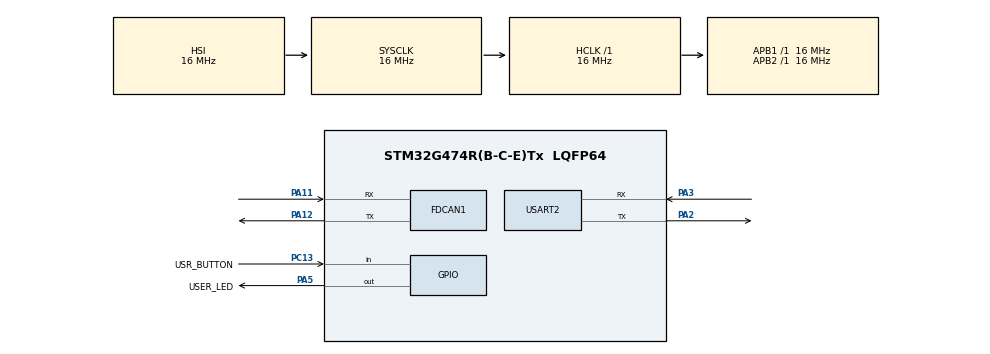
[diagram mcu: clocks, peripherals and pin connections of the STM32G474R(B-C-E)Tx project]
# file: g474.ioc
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FDCAN1.CalculateBaudRateNominal=400000
FDCAN1.CalculateTimeBitNominal=2500
FDCAN1.CalculateTimeQuantumNominal=250.0
FDCAN1.Mode=FDCAN_MODE_NORMAL
FDCAN1.NominalPrescaler=4
FDCAN1.NominalTimeSeg1=7
FDCAN1.NominalTimeSeg2=2
Mcu.Family=STM32G4
Mcu.Name=STM32G474R(B-C-E)Tx
Mcu.Package=LQFP64
NVIC.FDCAN1_IT0_IRQn=true\:0\:0\:false\:false\:true\:true\:true\:true
NVIC.PriorityGroup=NVIC_PRIORITYGROUP_4
PA11.Mode=FDCAN_Activate
PA11.Signal=FDCAN1_RX
PA12.Mode=FDCAN_Activate
PA12.Signal=FDCAN1_TX
PA2.Mode=Asynchronous
PA2.Signal=USART2_TX
PA3.Mode=Asynchronous
PA3.Signal=USART2_RX
PA5.GPIO_Label=USER_LED
PA5.Signal=GPIO_Output
PC13.GPIO_Label=USR_BUTTON
PC13.Signal=GPIO_Input
ProjectManager.HeapSize=0x200
ProjectManager.StackSize=0x400
ProjectManager.TargetToolchain=CMake
RCC.AHBFreq_Value=16000000
RCC.APB1Freq_Value=16000000
RCC.APB1TimFreq_Value=16000000
RCC.APB2Freq_Value=16000000
RCC.APB2TimFreq_Value=16000000
RCC.CortexFreq_Value=16000000
RCC.EXTERNAL_CLOCK_VALUE=12288000
RCC.HCLKFreq_Value=16000000
RCC.HSE_VALUE=8000000
RCC.HSI48_VALUE=48000000
RCC.HSI_VALUE=16000000
RCC.LSE_VALUE=32768
RCC.SYSCLKFreq_VALUE=16000000
RCC.USBFreq_Value=64000000
RCC.VCOOutputFreq_Value=128000000
USART2.VirtualMode-Asynchronous=VM_ASYNC
VP_SYS_VS_DBSignals.Mode=DisableDeadBatterySignals
board=custom

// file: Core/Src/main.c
/* USER CODE BEGIN Header */
/**
 ******************************************************************************
 * @file           : main.c
 * @brief          : Main program body
 ******************************************************************************
 * @attention
 *
 * Copyright (c) 2024 STMicroelectronics.
 * All rights reserved.
 *
 * This software is licensed under terms that can be found in the LICENSE file
 * in the root directory of this software component.
 * If no LICENSE file comes with this software, it is provided AS-IS.
 *
 ******************************************************************************
 */
/* USER CODE END Header */
#include "main.h"

/* USER CODE BEGIN Includes */
#include <stdbool.h>
#include <stdint.h>
#include <stdio.h>
#include <string.h>

/* USER CODE END Includes */

FDCAN_HandleTypeDef hfdcan1;

UART_HandleTypeDef huart2;

/* USER CODE BEGIN PV */
uint8_t ub_key_number = 0x0;
FDCAN_RxHeaderTypeDef rx_header;
uint8_t rx_data[8];
FDCAN_TxHeaderTypeDef tx_header;
uint8_t tx_data[8] = {0x01, 0x02, 0x03, 0x04, 0x05, 0x06, 0x07, 0x08};

/* USER CODE END PV */

void SystemClock_Config(void);
static void MX_GPIO_Init(void);
static void MX_FDCAN1_Init(void);
static void MX_USART2_UART_Init(void);
/* USER CODE BEGIN PFP */
static void FDCAN_Config(void);

/* USER CODE END PFP */

int main(void) {

    /* MCU
     * Configuration--------------------------------------------------------*/

    /* Reset of all peripherals, Initializes the Flash interface and the
     * Systick. */
    HAL_Init();

    /* Configure the system clock */
    SystemClock_Config();

    /* Initialize all configured peripherals */
    MX_GPIO_Init();
    MX_FDCAN1_Init();
    MX_USART2_UART_Init();
    /* USER CODE BEGIN 2 */

    FDCAN_Config();

    // uint32_t last_led_tick = HAL_GetTick();
    // uint32_t last_led_tick = HAL_GetTick();
    // uint8_t msg[] = "Hello UART\r\n";
    // uint8_t led_msg[] = "LED toggle tick\r\n";
    uint8_t button_msg[] = "Button toggle\r\n";
    // GPIO_PinState button_state = HAL_GPIO_ReadPin(GPIOC, GPIO_PIN_13);
    bool button_state = false;
    uint32_t last_button_change = 0;
    HAL_GPIO_TogglePin(GPIOA, GPIO_PIN_5);

    /* USER CODE END 2 */

    /* Infinite loop */
    while (1) {

        /* USER CODE BEGIN 3 */
        // HAL_UART_Transmit(&huart2, msg, sizeof(msg), HAL_MAX_DELAY);

        if (HAL_GPIO_ReadPin(GPIOC, GPIO_PIN_13) == GPIO_PIN_SET &&
            (HAL_GetTick() - last_button_change >= 500)) {
            // HAL_GPIO_WritePin(GPIOA, GPIO_PIN_5, GPIO_PIN_SET);
            button_state = !button_state;
            last_button_change = HAL_GetTick();
            HAL_UART_Transmit(&huart2, button_msg, sizeof(button_msg),
                              HAL_MAX_DELAY);
            HAL_GPIO_TogglePin(GPIOA, GPIO_PIN_5);
            tx_data[0] += 1;

            if (HAL_FDCAN_AddMessageToTxFifoQ(&hfdcan1, &tx_header, tx_data) !=
                HAL_OK) {
                HAL_UART_Transmit(&huart2,
                                  (uint8_t *)"failed to send data over can\r\n",
                                  30, HAL_MAX_DELAY);
                for (uint16_t i = 0; i < 50; ++i) {
                    HAL_GPIO_TogglePin(GPIOA, GPIO_PIN_5);
                    HAL_Delay(50);
                }
                Error_Handler();
            }
            if (tx_data[0] == 0x1f) {
                tx_data[0] = 0;
            }
            HAL_Delay(1);
        }
    }
    /* USER CODE END 3 */
}

void SystemClock_Config(void) {
    RCC_OscInitTypeDef RCC_OscInitStruct = {0};
    RCC_ClkInitTypeDef RCC_ClkInitStruct = {0};

    /** Configure the main internal regulator output voltage
     */
    HAL_PWREx_ControlVoltageScaling(PWR_REGULATOR_VOLTAGE_SCALE1);

    /** Initializes the RCC Oscillators according to the specified
     * parameters in the RCC_OscInitTypeDef structure.
     */
    RCC_OscInitStruct.OscillatorType = RCC_OSCILLATORTYPE_HSI;
    RCC_OscInitStruct.HSIState = RCC_HSI_ON;
    RCC_OscInitStruct.HSICalibrationValue = RCC_HSICALIBRATION_DEFAULT;
    RCC_OscInitStruct.PLL.PLLState = RCC_PLL_NONE;
    if (HAL_RCC_OscConfig(&RCC_OscInitStruct) != HAL_OK) {
        Error_Handler();
    }

    /** Initializes the CPU, AHB and APB buses clocks
     */
    RCC_ClkInitStruct.ClockType = RCC_CLOCKTYPE_HCLK | RCC_CLOCKTYPE_SYSCLK |
                                  RCC_CLOCKTYPE_PCLK1 | RCC_CLOCKTYPE_PCLK2;
    RCC_ClkInitStruct.SYSCLKSource = RCC_SYSCLKSOURCE_HSI;
    RCC_ClkInitStruct.AHBCLKDivider = RCC_SYSCLK_DIV1;
    RCC_ClkInitStruct.APB1CLKDivider = RCC_HCLK_DIV1;
    RCC_ClkInitStruct.APB2CLKDivider = RCC_HCLK_DIV1;

    if (HAL_RCC_ClockConfig(&RCC_ClkInitStruct, FLASH_LATENCY_0) != HAL_OK) {
        Error_Handler();
    }
}

static void MX_FDCAN1_Init(void) {

    hfdcan1.Instance = FDCAN1;
    hfdcan1.Init.ClockDivider = FDCAN_CLOCK_DIV1;
    hfdcan1.Init.FrameFormat = FDCAN_FRAME_CLASSIC;
    hfdcan1.Init.Mode = FDCAN_MODE_NORMAL;
    hfdcan1.Init.AutoRetransmission = DISABLE;
    hfdcan1.Init.TransmitPause = DISABLE;
    hfdcan1.Init.ProtocolException = DISABLE;
    hfdcan1.Init.NominalPrescaler = 4;
    hfdcan1.Init.NominalSyncJumpWidth = 1;
    hfdcan1.Init.NominalTimeSeg1 = 7;
    hfdcan1.Init.NominalTimeSeg2 = 2;
    hfdcan1.Init.DataPrescaler = 1;
    hfdcan1.Init.DataSyncJumpWidth = 1;
    hfdcan1.Init.DataTimeSeg1 = 1;
    hfdcan1.Init.DataTimeSeg2 = 1;
    hfdcan1.Init.StdFiltersNbr = 0;
    hfdcan1.Init.ExtFiltersNbr = 0;
    hfdcan1.Init.TxFifoQueueMode = FDCAN_TX_FIFO_OPERATION;
    if (HAL_FDCAN_Init(&hfdcan1) != HAL_OK) {
        Error_Handler();
    }
}

static void MX_USART2_UART_Init(void) {

    huart2.Instance = USART2;
    huart2.Init.BaudRate = 115200;
    huart2.Init.WordLength = UART_WORDLENGTH_8B;
    huart2.Init.StopBits = UART_STOPBITS_1;
    huart2.Init.Parity = UART_PARITY_NONE;
    huart2.Init.Mode = UART_MODE_TX_RX;
    huart2.Init.HwFlowCtl = UART_HWCONTROL_NONE;
    huart2.Init.OverSampling = UART_OVERSAMPLING_16;
    huart2.Init.OneBitSampling = UART_ONE_BIT_SAMPLE_DISABLE;
    huart2.Init.ClockPrescaler = UART_PRESCALER_DIV1;
    huart2.AdvancedInit.AdvFeatureInit = UART_ADVFEATURE_NO_INIT;
    if (HAL_UART_Init(&huart2) != HAL_OK) {
        Error_Handler();
    }
    if (HAL_UARTEx_SetTxFifoThreshold(&huart2, UART_TXFIFO_THRESHOLD_1_8) !=
        HAL_OK) {
        Error_Handler();
    }
    if (HAL_UARTEx_SetRxFifoThreshold(&huart2, UART_RXFIFO_THRESHOLD_1_8) !=
        HAL_OK) {
        Error_Handler();
    }
    if (HAL_UARTEx_DisableFifoMode(&huart2) != HAL_OK) {
        Error_Handler();
    }
}

static void MX_GPIO_Init(void) {
    GPIO_InitTypeDef GPIO_InitStruct = {0};

    /* GPIO Ports Clock Enable */
    __HAL_RCC_GPIOC_CLK_ENABLE();
    __HAL_RCC_GPIOA_CLK_ENABLE();

    /*Configure GPIO pin Output Level */
    HAL_GPIO_WritePin(USER_LED_GPIO_Port, USER_LED_Pin, GPIO_PIN_RESET);

    /*Configure GPIO pin : USR_BUTTON_Pin */
    GPIO_InitStruct.Pin = USR_BUTTON_Pin;
    GPIO_InitStruct.Mode = GPIO_MODE_INPUT;
    GPIO_InitStruct.Pull = GPIO_NOPULL;
    HAL_GPIO_Init(USR_BUTTON_GPIO_Port, &GPIO_InitStruct);

    /*Configure GPIO pin : USER_LED_Pin */
    GPIO_InitStruct.Pin = USER_LED_Pin;
    GPIO_InitStruct.Mode = GPIO_MODE_OUTPUT_PP;
    GPIO_InitStruct.Pull = GPIO_NOPULL;
    GPIO_InitStruct.Speed = GPIO_SPEED_FREQ_LOW;
    HAL_GPIO_Init(USER_LED_GPIO_Port, &GPIO_InitStruct);

}

/* USER CODE BEGIN 4 */
/**
 * @brief  Configures the FDCAN.
 * @param  None
 * @retval None
 */
static void FDCAN_Config(void) {
    FDCAN_FilterTypeDef sFilterConfig;

    /* Configure Rx filter */
    sFilterConfig.IdType = FDCAN_STANDARD_ID;
    sFilterConfig.FilterIndex = 0;
    sFilterConfig.FilterType = FDCAN_FILTER_RANGE;
    sFilterConfig.FilterConfig = FDCAN_FILTER_TO_RXFIFO0;
    sFilterConfig.FilterID1 = 0x321;
    sFilterConfig.FilterID2 = 0x7FF;
    if (HAL_FDCAN_ConfigFilter(&hfdcan1, &sFilterConfig) != HAL_OK) {
        Error_Handler();
    }

    /* Configure global filter:
       Filter all remote frames with STD and EXT ID
       Reject non matching frames with STD ID and EXT ID */
    // if (HAL_FDCAN_ConfigGlobalFilter(&hfdcan1, FDCAN_REJECT,
    // FDCAN_REJECT,
    //                                  FDCAN_FILTER_REMOTE,
    //                                  FDCAN_FILTER_REMOTE) != HAL_OK) {
    //     Error_Handler();
    // }

    /* Start the FDCAN module */
    if (HAL_FDCAN_Start(&hfdcan1) != HAL_OK) {
        Error_Handler();
    }

    if (HAL_FDCAN_ActivateNotification(&hfdcan1, FDCAN_IT_RX_FIFO0_NEW_MESSAGE,
                                       0) != HAL_OK) {
        Error_Handler();
    }

    /* Prepare Tx Header */
    tx_header.Identifier = 0x321;
    tx_header.IdType = FDCAN_STANDARD_ID;
    tx_header.TxFrameType = FDCAN_DATA_FRAME;
    tx_header.DataLength = FDCAN_DLC_BYTES_2;
    tx_header.ErrorStateIndicator = FDCAN_ESI_PASSIVE;
    tx_header.BitRateSwitch = FDCAN_BRS_OFF;
    tx_header.FDFormat = FDCAN_CLASSIC_CAN;
    tx_header.TxEventFifoControl = FDCAN_NO_TX_EVENTS;
    tx_header.MessageMarker = 0;
}

/**
 * @brief  Rx FIFO 0 callback.
 * @param  hfdcan: pointer to an FDCAN_HandleTypeDef structure that contains
 *         the configuration information for the specified FDCAN.
 * @param  RxFifo0ITs: indicates which Rx FIFO 0 interrupts are signalled.
 *         This parameter can be any combination of @arg
 * FDCAN_Rx_Fifo0_Interrupts.
 * @retval None
 */
void HAL_FDCAN_RxFifo0Callback(FDCAN_HandleTypeDef *hfdcan,
                               uint32_t RxFifo0ITs) {
    static uint8_t callback_hit_msg[] = "HAL_FDCAN_RxFifo0Callback called!\r\n";
    HAL_UART_Transmit(&huart2, callback_hit_msg, sizeof(callback_hit_msg),
                      HAL_MAX_DELAY);
    if ((RxFifo0ITs & FDCAN_IT_RX_FIFO0_NEW_MESSAGE) != RESET) {
        /* Retrieve Rx messages from RX FIFO0 */
        if (HAL_FDCAN_GetRxMessage(hfdcan, FDCAN_RX_FIFO0, &rx_header,
                                   rx_data) != HAL_OK) {
            Error_Handler();
        }

        char msg1[128];
        snprintf(msg1, 128,
                 "Successfully received data: Id: %lx, IdType: %ld, Length: "
                 "%ld, data point: %x\r\n",
                 rx_header.Identifier, rx_header.IdType, rx_header.DataLength,
                 rx_data[0]);
        uint32_t msg1_len = strnlen(msg1, 128);
        HAL_UART_Transmit(&huart2, (uint8_t *)msg1, msg1_len, HAL_MAX_DELAY);

        /* Display LEDx */
        if ((rx_header.Identifier == 0x321) &&
            (rx_header.IdType == FDCAN_STANDARD_ID) &&
            (rx_header.DataLength == FDCAN_DLC_BYTES_2)) {
            // LED_Display(rx_data[0]);
            char msg[64];
            snprintf(msg, 64, "Received data on can bus: %x\r\n", rx_data[0]);
            uint32_t msg_len = strnlen(msg, 64);
            HAL_UART_Transmit(&huart2, (uint8_t *)msg, msg_len, HAL_MAX_DELAY);
            ub_key_number = rx_data[0];
        }
    }
}

/* USER CODE END 4 */

void Error_Handler(void) {
    /* USER CODE BEGIN Error_Handler_Debug */
    /* User can add his own implementation to report the HAL error return
     * state
     */
    __disable_irq();
    while (1) {
    }
    /* USER CODE END Error_Handler_Debug */
}

#ifdef USE_FULL_ASSERT
/**
 * @brief  Reports the name of the source file and the source line number
 *         where the assert_param error has occurred.
 * @param  file: pointer to the source file name
 * @param  line: assert_param error line source number
 * @retval None
 */
void assert_failed(uint8_t *file, uint32_t line) {
    /* USER CODE BEGIN 6 */
    /* User can add his own implementation to report the file name and line
       number, ex: printf("Wrong parameters value: file %s on line %d\r\n",
       file, line) */
    /* USER CODE END 6 */
}
#endif /* USE_FULL_ASSERT */
